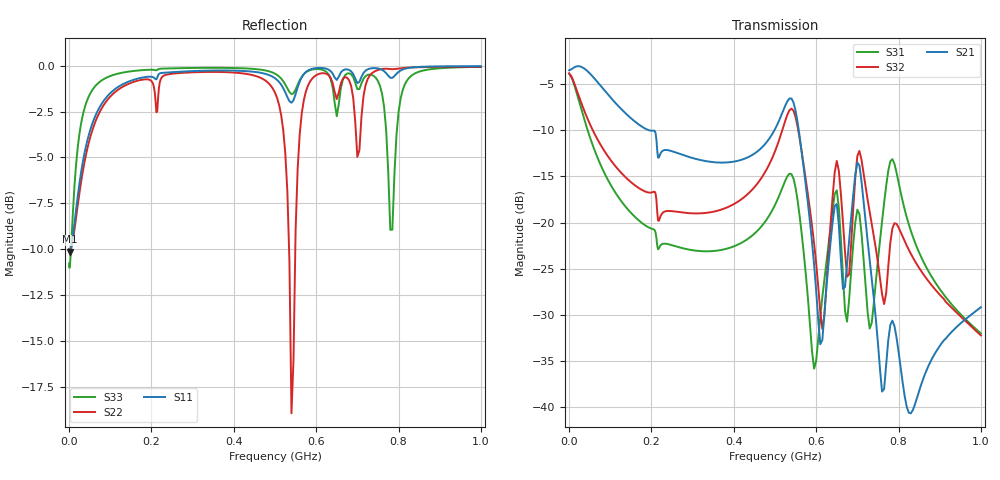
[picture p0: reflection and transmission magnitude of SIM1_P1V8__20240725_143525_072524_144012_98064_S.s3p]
! SPDX-FileCopyrightText: Copyright (c) Meta Platforms, Inc. and affiliates.
! SPDX-FileCopyrightText: © 2024 Rivos Inc.
!Generated from: C:\SIPIProj\Olympus\Xtract\Run_20240725_143525\SimFile\SIM1_P1V8__20240725_143525.spd
! Port_1::P1V8
! Port_2::P1V8
! Port_3::P1V8
!Layout Workbench Version: 23.1.2.10131.459628  200
!Computer Host Name: YANSHENG-LT
!TouchstoneFormatFlag = 1
! GNDNET GND
! NETSLIST P1V8
! Port 1 = U1-N6 P1V8
! Port 2 = U1-J12 P1V8
! Port 3 = PL8-2 P1V8
#	Hz	S	RI	R	0.1
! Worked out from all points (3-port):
!   625 points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, 100 mHz to 1 GHz, reference 0.1 ohm
!   strongest paths, dB at 100 mHz, 190.5 kHz, 76 MHz, 388 MHz, 1 GHz:
!     S21: -3.5, -3.5, -5.1, -13.5, -29.2
!     S32: -3.8, -3.8, -11.5, -18.3, -32.3
!     S31: -3.8, -3.8, -13.7, -22.8, -32.0
!   lowest |S11| = -10.1 dB at 1.202 MHz (marker M1), VSWR 1.91, Z = 0.0526 + j0.00444 ohm
!   |S11| at or under -10 dB: start of sweep to 3.894 MHz
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0.1  -0.3155 4.43e-09  0.6716 2.58e-10  0.6439 -4.46e-09
     0.6716 2.58e-10  -0.3171 3.81e-09  0.6454 -3.96e-09
     0.6439 -4.46e-09  0.6454 -3.96e-09  -0.2893 8.43e-09
1202264  -0.3094 0.0381  0.6732 -0.00426  0.6362 -0.0342
         0.6732 -0.00426  -0.3117 0.0325  0.6385 -0.0286
         0.6362 -0.0342  0.6385 -0.0286  -0.2747 0.0625
9.4e7  0.6411 0.5251  0.3153 -0.3836  0.0384 -0.1664
       0.3153 -0.3836  0.5937 0.5506  0.0967 -0.2079
       0.0384 -0.1664  0.0967 -0.2079  0.8628 0.3512
5.05e8  0.913 0.0588  -0.1092 -0.3203  -0.057 -0.1186
        -0.1092 -0.3203  0.7459 -0.3334  -0.1061 -0.2381
        -0.057 -0.1186  -0.1061 -0.2381  0.9433 -0.0358
5.4e8  0.7819 0.13  -0.4411 -0.1659  -0.1768 -0.048
       -0.4411 -0.1659  -0.0506 -0.101  -0.4016 -0.1069
       -0.1768 -0.048  -0.4016 -0.1069  0.8366 0.0123
5.7e8  0.9216 0.2245  -0.1574 0.1167  -0.0543 0.0403
       -0.1574 0.1167  0.5217 0.6142  -0.1476 0.139
       -0.0543 0.0403  -0.1476 0.139  0.9455 0.0763
6.1e8  0.9747 0.1504  -0.0218 -0.00105  -0.0121 -0.0283
       -0.0218 -0.00105  0.8751 0.3754  -0.0282 0.0164
       -0.0121 -0.0283  -0.0282 0.0164  0.9776 -0.0162
7.05e8  0.891 0.1487  -0.204 0.00889  -0.1109 0.00838
        -0.204 0.00889  0.5223 0.2722  -0.2348 0.0688
        -0.1109 0.00838  -0.2348 0.0688  0.8637 0.0126
8.3e8  0.9786 0.1379  -0.0067 -0.00631  -0.0368 0.0821
       -0.0067 -0.00631  0.9631 0.2242  -0.0269 0.062
       -0.0368 0.0821  -0.0269 0.062  0.8941 0.2796
1e9  0.9929 0.0914  0.00162 -0.0346  -0.00369 0.0247
     0.00162 -0.0346  0.9852 0.1219  -0.00419 0.024
     -0.00369 0.0247  -0.00419 0.024  0.9874 0.1069
